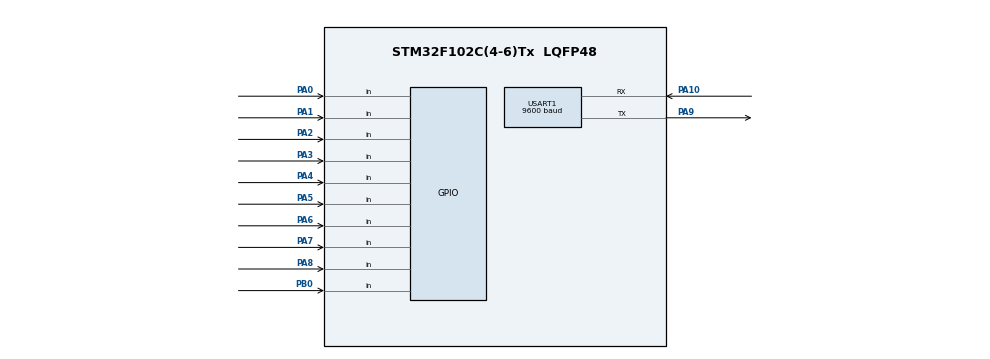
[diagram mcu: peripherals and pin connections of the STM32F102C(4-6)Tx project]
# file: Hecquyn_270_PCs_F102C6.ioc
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Mcu.Family=STM32F1
Mcu.Name=STM32F102C(4-6)Tx
Mcu.Package=LQFP48
NVIC.PriorityGroup=NVIC_PRIORITYGROUP_4
PA0-WKUP.Signal=GPIO_Input
PA1.Signal=GPIO_Input
PA10.Mode=Asynchronous
PA10.Signal=USART1_RX
PA13.Mode=Serial_Wire
PA13.Signal=SYS_JTMS-SWDIO
PA14.Mode=Serial_Wire
PA14.Signal=SYS_JTCK-SWCLK
PA2.Signal=GPIO_Input
PA3.Signal=GPIO_Input
PA4.Signal=GPIO_Input
PA5.Signal=GPIO_Input
PA6.Signal=GPIO_Input
PA7.Signal=GPIO_Input
PA8.Signal=GPIO_Input
PA9.Mode=Asynchronous
PA9.Signal=USART1_TX
PB0.Signal=GPIO_Input
ProjectManager.HeapSize=0x200
ProjectManager.StackSize=0x400
ProjectManager.TargetToolchain=MDK-ARM V5.27
RCC.APB1Freq_Value=8000000
RCC.APB2Freq_Value=8000000
USART1.BaudRate=9600
USART1.VirtualMode=VM_ASYNC
board=custom

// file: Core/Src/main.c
/* USER CODE BEGIN Header */
/**
  ******************************************************************************
  * @file           : main.c
  * @brief          : Main program body
  ******************************************************************************
  * @attention
  *
  * <h2><center>&copy; Copyright (c) 2021 STMicroelectronics.
  * All rights reserved.</center></h2>
  *
  * This software component is licensed by ST under BSD 3-Clause license,
  * the "License"; You may not use this file except in compliance with the
  * License. You may obtain a copy of the License at:
  *                        opensource.org/licenses/BSD-3-Clause
  *
  ******************************************************************************
  */
/* USER CODE END Header */
#include "main.h"

#include <stdbool.h>
#include <stdio.h>

struct __FILE
{
  int handle;
  /* Whatever you require here. If the only file you are using is */
  /* standard output using printf() for debugging, no file handling */
  /* is required. */
};
/*send text over SWV*/
int fputc(int ch, FILE *f) {
  ITM_SendChar(ch);//send method for SWV
  return (ch);
}

#define MP3_TRAKING_NUM       0x03 // 0..2999
#define MP3_VOLUME          0x06 // 0..30
#define MP3_RESET         0x0C
#define MP3_PLAYBACK        0x0D
#define MP3_PAUSE         0x0E
#define MP3_STOP        0x16

#define COUNT_TO_ON_OFF  10
#define TIME_30_SECOND  30000
#define TIME_1_MINUTE   60000
#define TIME_2_MINUTES  120000
#define TIME_5_MINUTES  300000
#define TIME_15_MINUTES 900000
#define TIME_20_MINUTES 1200000
#define TIME_25_MINUTES 1500000
#define TIME_30_MINUTES 1800000
#define TIME_ADJUST_SPEED_ALARM 5000
#define TIME_GOTO_SLEEP_MODE 600000
//#define TIME_TO_CONGRATULATE 300000 //5min
#define PROGRAM_TIMEOUT 30000
#define TIME_TO_CONGRATULATE_STOP 30000 //30s

UART_HandleTypeDef huart3;

int sw = 100; // default
uint32_t keyPadData;
int mode = 1;
int nSetup = 1;
bool isStart = false;
bool isSetup = false;
bool isMode = false;
bool isStartWithMode = false;
bool isPressStop = false;
bool isOn = true;
bool isSpeedChange = false;
bool isSleep = false;
bool isFemale = true;
int nStopPress = 0;
int nVol = 15;
GPIO_PinState safeKey = GPIO_PIN_RESET;
GPIO_PinState lastSafeKeyStatus = GPIO_PIN_RESET;
uint32_t sleepModeTick = 0;
uint32_t remindTick = 0;
uint32_t currentTick = 0;
uint32_t tickForPlusMinus = 0;
uint32_t tickForCline = 0;
uint32_t tickForCongratulate = 0;
uint32_t tickForProgramTimeout = 0;
uint32_t startick = 0;
uint8_t mp3_cmd_buf[10] = {0x7E, 0xFF, 0x06, 0x00, 0x01, 0x0, 0x0, 0x00, 0x00, 0xEF};

UART_HandleTypeDef huart1;

void SystemClock_Config(void);
static void MX_GPIO_Init(void);
static void MX_USART1_UART_Init(void);
/* USER CODE BEGIN PFP */
void playVoice(char key);
void MP3_send_cmd (uint8_t cmd, uint16_t high_arg, uint16_t low_arg);
void MP3_stop(void);
void MP3_play(uint8_t index);
void MP3_setVol(uint8_t vol);
void MP3_reset(void);
void SetDefaulData(void);

/* USER CODE END PFP */

int main(void)

{

  printf("Application start\n");
  HAL_Init();
  SystemClock_Config();
  MX_GPIO_Init();
  MX_USART1_UART_Init();

  MP3_reset();
  HAL_Delay(5000);
  MP3_setVol(nVol);
  HAL_Delay(200);
  MP3_play(1);
  sleepModeTick = HAL_GetTick();

  while (1)
  {
    /* USER CODE END WHILE */
    keyPadData = GPIOA->IDR;
    safeKey = HAL_GPIO_ReadPin(GPIOB, GPIO_PIN_0); // check safe key
    if (lastSafeKeyStatus == GPIO_PIN_SET && safeKey == GPIO_PIN_RESET)
    {
      // Let continue
      MP3_play(30);
      HAL_Delay(50);

    }
    if (lastSafeKeyStatus == GPIO_PIN_RESET && safeKey == GPIO_PIN_SET)
    {
      MP3_play(29); // hay cai khoa an toan truoc khi luyen tap
      HAL_Delay(50);
      SetDefaulData();
    }
    lastSafeKeyStatus = safeKey;
    if (isOn && !isSleep && (safeKey == GPIO_PIN_RESET)) {

      currentTick = HAL_GetTick();
      if (!isStartWithMode) { // if start with mode, don't remind.
        //==============================================
        if (isStart && (currentTick - startick < TIME_5_MINUTES - 60000) && (currentTick - remindTick >= TIME_1_MINUTE)) // 0-4m
        {
          remindTick = currentTick;
          printf("1m remind speed up/down\n");
          MP3_play(36);
          HAL_Delay(50);
        }
        else if (isStart && (currentTick - startick > TIME_5_MINUTES + 60000) && (currentTick - startick < TIME_15_MINUTES - 60000) && (currentTick - remindTick >= TIME_1_MINUTE)) // 6-14m
        {
          remindTick = currentTick;
          printf("1m remind speed up/down\n");
          MP3_play(36);
          HAL_Delay(50);
        }
        else if (isStart && (currentTick - startick > TIME_15_MINUTES + 60000) && (currentTick - startick < TIME_20_MINUTES - 60000) && (currentTick - remindTick >= TIME_1_MINUTE)) // 16-19m
        {
          remindTick = currentTick;
          printf("1m remind speed up/down\n");
          MP3_play(36);
          HAL_Delay(50);
        }
        //==================================================================== Speed down
        else if (isStart && (currentTick - startick > TIME_20_MINUTES + 60000) && (currentTick - startick < TIME_25_MINUTES - 60000) && (currentTick - remindTick >= TIME_1_MINUTE)) //21-24m
        {
          remindTick = currentTick;
          printf("1m remind speed down\n");
          MP3_play(19);
          HAL_Delay(50);
        }
        else if (isStart && (currentTick - startick > TIME_25_MINUTES + 60000) && (currentTick - startick < TIME_30_MINUTES - 60000) && (currentTick - remindTick >= TIME_1_MINUTE)) //26-29m
        {
          remindTick = currentTick;
          printf("1m remind speed down\n");
          MP3_play(19);
          HAL_Delay(50);
        }
        else if (isStart && (currentTick - startick > TIME_30_MINUTES + 60000) && (currentTick - remindTick >= TIME_1_MINUTE)) //26-29m
        {
          remindTick = currentTick;
          printf("1m remind speed down\n");
          MP3_play(19);
          HAL_Delay(50);
        }
        //===============================================
        else if ((currentTick - startick >= TIME_5_MINUTES) && isStart && (currentTick - startick < TIME_5_MINUTES + 100 )) //5 minutes remind adjust speed
        {
          printf("Buoc 4\n");
          MP3_play(32); // Buoc 4 voi khoang 10p tiep theo
          HAL_Delay(50);
        }
        else if ((currentTick - startick >= TIME_15_MINUTES) && isStart && (currentTick - startick < TIME_15_MINUTES + 100)) //15 minutes
        {
          printf("Buoc 5\n");
          MP3_play(33); // buoc 5 voi khoang 5p tiep theo
          HAL_Delay(50);
        }
        else if ((currentTick - startick >= TIME_20_MINUTES) && isStart && (currentTick - startick < TIME_20_MINUTES + 100)) // sau 20p
        {
          printf("Buoc 6\n");
          MP3_play(35); // buoc 6 voi khoang 5p den 10p
          HAL_Delay(50);
        }
        else if ((currentTick - startick >= TIME_25_MINUTES) && isStart && (currentTick - startick < TIME_25_MINUTES + 150)) // sau 25p
        {
          printf("Buoc 7\n");
          MP3_play(34); // buoc 7
          HAL_Delay(50);
        }
        else if ((currentTick - startick >= TIME_30_MINUTES) && isStart && (currentTick - startick < TIME_30_MINUTES + 150)) // sau 30p
        {
          printf("Buoc 7\n");
          MP3_play(34); // buoc 7
          HAL_Delay(50);
        }
      }

      if (currentTick - tickForProgramTimeout >= PROGRAM_TIMEOUT && isMode)
      {
        SetDefaulData();
        printf("program timeout\n");
      }

      if (((HAL_GetTick() - sleepModeTick) >= TIME_GOTO_SLEEP_MODE) && !isStart) // sleep mode check
      {
        isSleep = true;
        printf("Go to sleep mode\n");
        SetDefaulData();// reset all data
        sleepModeTick = HAL_GetTick();
      }
      if (!(keyPadData & ((uint32_t)(GPIO_PIN_6 | GPIO_PIN_0)))) // Key A incl :3
      {
        sw = 3;
        if (isStart)
          MP3_play(13);
        HAL_Delay(200);
      }
      else if (!(keyPadData & ((uint32_t)(GPIO_PIN_7 | GPIO_PIN_0)))) // Key B incl: 6
      {
        sw = 2;
        if (isStart)
          MP3_play(12);
        HAL_Delay(200);
      }
      else if (!(keyPadData & ((uint32_t)(GPIO_PIN_8 | GPIO_PIN_0)))) // Key C incl: 9
      {
        sw = 1;
        if (isStart)
          MP3_play(11);
        HAL_Delay(200);
      }
      /*  Check Key keyPadData from the second pin */
      else if (!(keyPadData & ((uint32_t)(GPIO_PIN_4 | GPIO_PIN_1)))) // Incline +
      {
        //remindTick = HAL_GetTick();
        sw = 4;
        if (isStart)
        {
          if ((HAL_GetTick() - tickForCline) >= TIME_ADJUST_SPEED_ALARM) /// after 30s if user adjust incline it will remind keep safe
          {
            MP3_play(24);
          }
          tickForCline = HAL_GetTick();
        }
        HAL_Delay(150);
      }
      else if (!(keyPadData & ((uint32_t)(GPIO_PIN_5 | GPIO_PIN_1)))) //          key = Program
      {
        sw = 6;
        if (isStart == false && isSetup == false)
        {
          isMode = true;
          tickForProgramTimeout = HAL_GetTick();
          switch (mode) {
            case 1:
              MP3_play(3);
              break;
            case 2:
              MP3_play(4);
              break;
            case 12:
              MP3_play(5);
              break;
            case 13:
              MP3_play(6);
              break;
            case 14:
              mode = 0; // mode will be set to 1 in the end of switch
              isMode = false;
              break;
            default:
              break;
          }
          mode++;
        }
        HAL_Delay(200);
      }
      else if (!(keyPadData & ((uint32_t)(GPIO_PIN_6 | GPIO_PIN_1)))) //key Start;
      {
        startick = tickForCline = tickForPlusMinus = tickForCongratulate = remindTick = HAL_GetTick();
        sw = 7;
        //          HAL_Delay(150);
        if (isStart == false)
        { // start
          if (mode > 1) {
            isStartWithMode = true;
            printf("Start with mode, don't remind\n");
            MP3_play(37);
          } else {
            MP3_play(7);
          }
          isStart = true;
          mode = 1 ; // reset mode
          nSetup = 1; // reset nSetup
          isSetup = false;
          isMode = false;
        }
        HAL_Delay(200);
      }
			else if (!(keyPadData & ((uint32_t)(GPIO_PIN_5 | GPIO_PIN_2))))
			{
				sw = 8;
				isFemale = !isFemale;
				HAL_Delay(150);
			}
      else if (!(keyPadData & ((uint32_t)(GPIO_PIN_7 | GPIO_PIN_1)))) //key Stop;
      {
        sw = 5;
        isPressStop = true;
        HAL_Delay(200);
        if (isPressStop)
        {
          nStopPress++;
        }

        if (isStart == true) {  // stop
          if ((HAL_GetTick() - startick) > TIME_TO_CONGRATULATE_STOP)
          {
            MP3_play(2);
          } else
          {
            MP3_stop();
          }
        } else if (nStopPress == COUNT_TO_ON_OFF) { // /// turn on/off audio manual
          if (isOn)
          {
            isOn = false;
            MP3_play(18);
          }
          else
          {
            isOn = true;
            MP3_play(17);
          }
          nStopPress = 0;
					isPressStop = false;
        }
        //SetDefaulData();
        isStart = false;
        mode = 1 ; // reset mode
        nSetup = 1; // reset nSetup
        isSetup = false;
        isMode = false;
        isStartWithMode = false;
        //HAL_Delay(100);
      }
      else if (!(keyPadData & ((uint32_t)(GPIO_PIN_8 | GPIO_PIN_1)))) // Key Mode
      {
        sw = 12;
        if (isStart == false && isMode == false) // setup
        {
          isSetup = true;
          switch (nSetup) {
            case 1:
              MP3_play(8);
              break;
            case 2:
              MP3_play(9);
              break;
            case 3:
              MP3_play(10);
              break;
            case 4:
              MP3_stop();
              nSetup = 0;
              isSetup = false;
              break;
            default:
              break;
          }
          nSetup++;
        }
        HAL_Delay(200);
      }
      /*  Check Key keyPadData from the third pin */
      else if (!(keyPadData & ((uint32_t)(GPIO_PIN_4 | GPIO_PIN_2)))) // Incline -
      {
        //remindTick = HAL_GetTick();
        sw = 8;
        HAL_Delay(150);
        if (isStart)
        {
          if ((HAL_GetTick() - tickForCline) >= TIME_ADJUST_SPEED_ALARM) /// after 30s if user adjust incline it will remind keep safe
          {
            MP3_play(25);
          }
          tickForCline = HAL_GetTick();
        }
      }
      else if (!(keyPadData & ((uint32_t)(GPIO_PIN_7 | GPIO_PIN_2)))) // Key +
      {
        //remindTick  = HAL_GetTick();
        sw = 11;
        nVol += 2;
        if (nVol >= 20)
          nVol = 20;
        if (!(isMode || isSetup || isStart))
        {
          MP3_setVol(nVol);
          HAL_Delay(100);
          //MP3_play(20);
          printf("Vol: %d\n", nVol);
        }
        if (isStart)
        {
          if ((HAL_GetTick() - tickForPlusMinus) >= TIME_ADJUST_SPEED_ALARM) /// after 30s if user adjust speed it will remind keep safe
          {
            MP3_play(21);
          }
          tickForPlusMinus = HAL_GetTick();
        }
        HAL_Delay(50);
      }
      else if (!(keyPadData & ((uint32_t)(GPIO_PIN_8 | GPIO_PIN_2))) ) // key -
      {
        //remindTick  = HAL_GetTick();
        sw = 16;
        nVol -= 2;
        if (nVol <= 0)
          nVol = 0;
        if (!(isMode || isSetup || isStart))
        {
          MP3_setVol(nVol);
          HAL_Delay(100);
          //MP3_play(23);
          printf("Vol: %d\n", nVol);
        }
        if (isStart)
        {
          if ((HAL_GetTick() - tickForPlusMinus) >= TIME_ADJUST_SPEED_ALARM) // after 30s if user adjust speed it will remind keep safe
          {
            MP3_play(22);
          }
          tickForPlusMinus = HAL_GetTick();
        }
        HAL_Delay(50);
      }
      /* Check Key keyPadData from the fourt pin */
      else if (!(keyPadData & ((uint32_t)(GPIO_PIN_6 | GPIO_PIN_3)))) // Key D speed 3
      {
        sw = 13;
        if (isStart)
          MP3_play(16);
        HAL_Delay(200);
      }
      else if (!(keyPadData & ((uint32_t)(GPIO_PIN_7 | GPIO_PIN_3)))) // Key E speed 6
      {
        sw = 14;
        if (isStart)
          MP3_play(15);
        HAL_Delay(200);
      }
      else if (!(keyPadData & ((uint32_t)(GPIO_PIN_8 | GPIO_PIN_3)))) // Key F speed 9
      {
        sw = 15;
        if (isStart)
          MP3_play(14);
        HAL_Delay(200);
      }
      //-----------------------------------------------------------------------------------------------------
    } else
    { /// turn off audio manual
      if (!(keyPadData & ((uint32_t)(GPIO_PIN_6 | GPIO_PIN_0)))) // Key 10 incl :4
      {
        sw = 3;
        HAL_Delay(200);
      }
      else if (!(keyPadData & ((uint32_t)(GPIO_PIN_7 | GPIO_PIN_0)))) // Key 11 incl: 4
      {

        sw = 2;
        HAL_Delay(200);
      }
      else if (!(keyPadData & ((uint32_t)(GPIO_PIN_8 | GPIO_PIN_0)))) // Key 12 incl: 12
      {
        sw = 1;
        HAL_Delay(200);
      }
      /*  Check Key keyPadData from the second pin */
      else if (!(keyPadData & ((uint32_t)(GPIO_PIN_4 | GPIO_PIN_1)))) //in +
      {
        sw = 4;
        HAL_Delay(150);
      }

      else if (!(keyPadData & ((uint32_t)(GPIO_PIN_5 | GPIO_PIN_1)))) //          key Program
      {
        sw = 6;
        HAL_Delay(200);
      }
      else if (!(keyPadData & ((uint32_t)(GPIO_PIN_6 | GPIO_PIN_1)))) //key 7 Start;
      {
        sw = 7;
        HAL_Delay(200);
      }
      else if (!(keyPadData & ((uint32_t)(GPIO_PIN_7 | GPIO_PIN_1)))) //key 8 Stop;
      {
        sw = 5;
        isPressStop = true;
        MP3_stop();
        HAL_Delay(200);
        if (isPressStop)
        {
          nStopPress++;
        }
        if (isStart == true) {  // stop
          MP3_play(2);
        } else if (nStopPress == COUNT_TO_ON_OFF) { // /// turn on/off audio manual
          if (isOn)
          {
            isOn = false;
            MP3_play(18);
          }
          else
          {
            isOn = true;
            MP3_play(17);
          }
          nStopPress = 0;
        }
        isStart = false;
        mode = 1 ; // reset mode
        nSetup = 1; // reset nSetup
        isSetup = false;
        isMode = false;
        //HAL_Delay(100);
      }
      else if (!(keyPadData & ((uint32_t)(GPIO_PIN_8 | GPIO_PIN_1)))) //key Mode
      {
        sw = 10;
        HAL_Delay(200);
      }
      /*  Check Key keyPadData from the third pin */
      else if (!(keyPadData & ((uint32_t)(GPIO_PIN_4 | GPIO_PIN_2)))) //key in-
      {
        sw = 8;
        HAL_Delay(150);
      }
      else if (!(keyPadData & ((uint32_t)(GPIO_PIN_4 | GPIO_PIN_1)))) //in+
      {
        sw = 4;
        HAL_Delay(150);
      }
      else if (!(keyPadData & ((uint32_t)(GPIO_PIN_6 | GPIO_PIN_2))))
      {
        sw = 10;
        HAL_Delay(150);
      }
      else if (!(keyPadData & ((uint32_t)(GPIO_PIN_7 | GPIO_PIN_2)))) // +
      {
        sw = 11;
        HAL_Delay(150);
      }
      else if (!(keyPadData & ((uint32_t)(GPIO_PIN_4 | GPIO_PIN_3)))) // + 2
      {
        sw = 16;
        HAL_Delay(150);
      }
      else if (!(keyPadData & ((uint32_t)(GPIO_PIN_8 | GPIO_PIN_2)))) // -
      {
        sw = 12;
        HAL_Delay(150);
      }
      else if (!(keyPadData & ((uint32_t)(GPIO_PIN_5 | GPIO_PIN_3)))) // - 2
      {
        sw = 17;
        HAL_Delay(150);
      }

      /* Check Key keyPadData from the fourt pin */
      else if (!(keyPadData & ((uint32_t)(GPIO_PIN_6 | GPIO_PIN_3)))) // Key 13 speed 9
      {
        sw = 13;
        HAL_Delay(200);
      }
      else if (!(keyPadData & ((uint32_t)(GPIO_PIN_7 | GPIO_PIN_3)))) // Key 14 speed 6
      {
        sw = 14;
        HAL_Delay(200);
      }
      else if (!(keyPadData & ((uint32_t)(GPIO_PIN_8 | GPIO_PIN_3)))) // Key 15 speed 3
      {
        sw = 15;
        HAL_Delay(200);
      }
    }
    // Check key change
    if (sw != 100)
    {
      if (sw != 8)
      {
        isPressStop = false;
      }
      if (safeKey == GPIO_PIN_SET)
      {
        MP3_play(26);
        SetDefaulData();
      }
      sleepModeTick = HAL_GetTick();
      isSleep = false;
      printf("SW: %d -- IsStart: %d -- IsMode: %d -- isOn: %d -- isSetup: %d -- isSleep: %d -- SafeKey: %d --IsStartWithMode: %d --IsFemale: %d\n", sw, isStart, isMode, isOn, isSetup, isSleep, safeKey,isStartWithMode, isFemale);
      sw = 100;
    }
  }
  /* USER CODE END 3 */
}

void SystemClock_Config(void)
{
  RCC_OscInitTypeDef RCC_OscInitStruct = {0};
  RCC_ClkInitTypeDef RCC_ClkInitStruct = {0};

  /** Initializes the RCC Oscillators according to the specified parameters
  * in the RCC_OscInitTypeDef structure.
  */
  RCC_OscInitStruct.OscillatorType = RCC_OSCILLATORTYPE_HSI;
  RCC_OscInitStruct.HSIState = RCC_HSI_ON;
  RCC_OscInitStruct.HSICalibrationValue = RCC_HSICALIBRATION_DEFAULT;
  RCC_OscInitStruct.PLL.PLLState = RCC_PLL_NONE;
  if (HAL_RCC_OscConfig(&RCC_OscInitStruct) != HAL_OK)
  {
    Error_Handler();
  }
  /** Initializes the CPU, AHB and APB buses clocks
  */
  RCC_ClkInitStruct.ClockType = RCC_CLOCKTYPE_HCLK|RCC_CLOCKTYPE_SYSCLK
                              |RCC_CLOCKTYPE_PCLK1|RCC_CLOCKTYPE_PCLK2;
  RCC_ClkInitStruct.SYSCLKSource = RCC_SYSCLKSOURCE_HSI;
  RCC_ClkInitStruct.AHBCLKDivider = RCC_SYSCLK_DIV1;
  RCC_ClkInitStruct.APB1CLKDivider = RCC_HCLK_DIV1;
  RCC_ClkInitStruct.APB2CLKDivider = RCC_HCLK_DIV1;

  if (HAL_RCC_ClockConfig(&RCC_ClkInitStruct, FLASH_LATENCY_0) != HAL_OK)
  {
    Error_Handler();
  }
}

static void MX_USART1_UART_Init(void)
{

  huart1.Instance = USART1;
  huart1.Init.BaudRate = 9600;
  huart1.Init.WordLength = UART_WORDLENGTH_8B;
  huart1.Init.StopBits = UART_STOPBITS_1;
  huart1.Init.Parity = UART_PARITY_NONE;
  huart1.Init.Mode = UART_MODE_TX_RX;
  huart1.Init.HwFlowCtl = UART_HWCONTROL_NONE;
  huart1.Init.OverSampling = UART_OVERSAMPLING_16;
  if (HAL_UART_Init(&huart1) != HAL_OK)
  {
    Error_Handler();
  }

}

static void MX_GPIO_Init(void)
{
  GPIO_InitTypeDef GPIO_InitStruct = {0};

  /* GPIO Ports Clock Enable */
  __HAL_RCC_GPIOA_CLK_ENABLE();
  __HAL_RCC_GPIOB_CLK_ENABLE();

  /*Configure GPIO pins : PA0 PA1 PA2 PA3
                           PA4 PA5 PA6 PA7
                           PA8 */
  GPIO_InitStruct.Pin = GPIO_PIN_0|GPIO_PIN_1|GPIO_PIN_2|GPIO_PIN_3
                          |GPIO_PIN_4|GPIO_PIN_5|GPIO_PIN_6|GPIO_PIN_7
                          |GPIO_PIN_8;
  GPIO_InitStruct.Mode = GPIO_MODE_INPUT;
  GPIO_InitStruct.Pull = GPIO_NOPULL;
  HAL_GPIO_Init(GPIOA, &GPIO_InitStruct);

  /*Configure GPIO pin : PB0 */
  GPIO_InitStruct.Pin = GPIO_PIN_0;
  GPIO_InitStruct.Mode = GPIO_MODE_INPUT;
  GPIO_InitStruct.Pull = GPIO_NOPULL;
  HAL_GPIO_Init(GPIOB, &GPIO_InitStruct);

}

/* USER CODE BEGIN 4 */
void SetDefaulData(void)
{
  printf("Set Defaul Data\n");
  sw = 100; // default
  mode = 1;
  nSetup = 1;
  isStart = false;
  isSetup = false;
  isMode = false;
  //isPressStop = false;
  //isOn = true;
  isSpeedChange = false;
  //nStopPress = 0;
  //sleepModeTick = 0;
  remindTick = 0;
  currentTick = 0;
  tickForPlusMinus = 0;
  isStartWithMode = false;
}
/* Calculate checksum
*/
uint16_t MP3_checksum (void) {
  uint16_t sum = 0;
  uint8_t i;
  for (i = 1; i < 7; i++) {
    sum += mp3_cmd_buf[i];
  }
  return -sum;
}

/* Send command to DFPlayer
*/
void MP3_send_cmd (uint8_t cmd, uint16_t high_arg, uint16_t low_arg) {

  uint16_t checksum;

  mp3_cmd_buf[3] = cmd;

  mp3_cmd_buf[5] = high_arg;
  mp3_cmd_buf[6] = low_arg;

  checksum = MP3_checksum();
  mp3_cmd_buf[7] = (uint8_t) ((checksum >> 8) & 0x00FF);
  mp3_cmd_buf[8] = (uint8_t) (checksum & 0x00FF);

  // Send command to UART3
  /*
    for (i=0; i<10; i++) {
    char* data = &mp3_cmd_buf[0];
    int size = sizeof(mp3_cmd_buf);
    HAL_UART_Transmit(&huart1,data,size,2000);
    //        USART_SendData(USART1, mp3_cmd_buf[i]);
    //        while(USART_GetFlagStatus(USART1, USART_FLAG_TC) == RESET)
        {
        }
    }
  */
  int size = sizeof(mp3_cmd_buf);

  //    while((status != HAL_OK) || i <= 10)
  //      {
  HAL_UART_Transmit(&huart1, mp3_cmd_buf, size, 300);
  //        i++;
  //    }
  //memset(&mp3_cmd_buf[0], 0, sizeof mp3_cmd_buf);
}
void MP3_stop(void)
{
  printf("MP3 Stop !\n");
  MP3_send_cmd(MP3_STOP, 0, 0);
  //MP3_send_cmd(MP3_RESET,0,0);
}

void MP3_play(uint8_t index)
{
  if(isFemale == false)
  {
    index = index + 37;
  }
  printf("Play: %d\n", index);
  MP3_send_cmd(MP3_STOP, 0, 0);
  HAL_Delay(500);
  MP3_send_cmd(MP3_TRAKING_NUM, 0, index);
}
void MP3_setVol(uint8_t vol)
{
  MP3_send_cmd(MP3_VOLUME, 0, vol);
}

void MP3_reset()
{
  MP3_send_cmd(MP3_RESET, 0, 0);
}

/* USER CODE END 4 */

void Error_Handler(void)
{
  __disable_irq();
  while (1)
  {
  }
}

/************************ (C) COPYRIGHT STMicroelectronics *****END OF FILE****/
